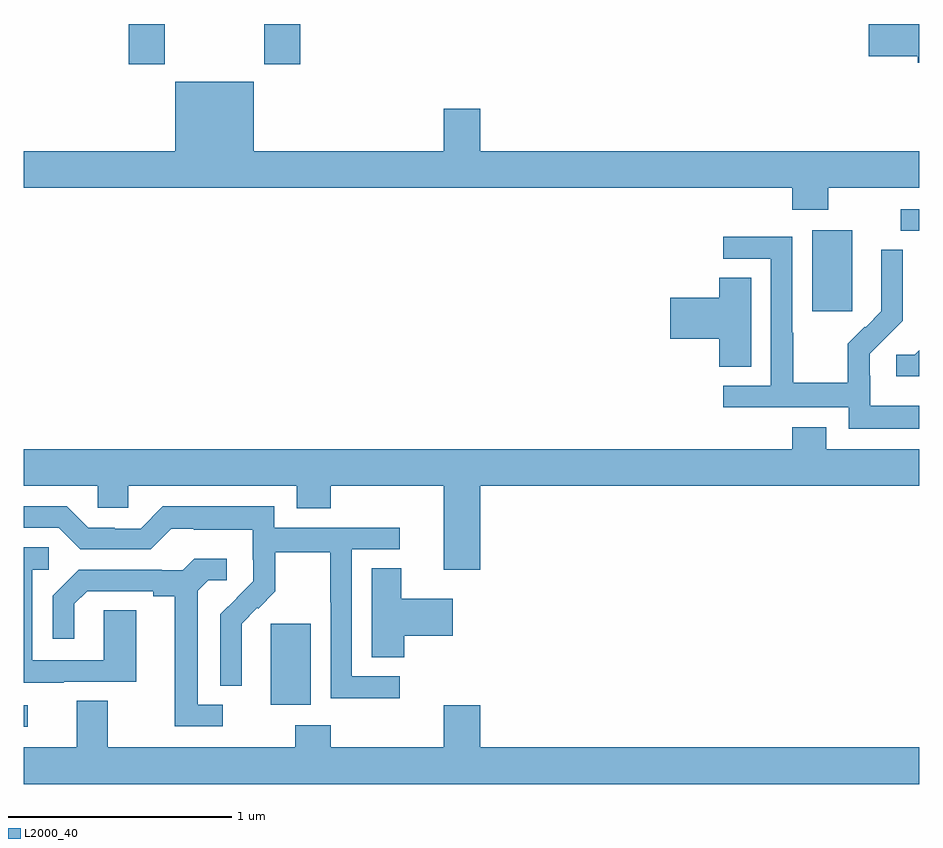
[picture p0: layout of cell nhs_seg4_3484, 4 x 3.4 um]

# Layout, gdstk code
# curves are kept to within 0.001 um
import gdstk
lib = gdstk.Library(unit=1e-6, precision=1e-09)
def R(c, l, rs):  # rectangles x0, y0, x1, y1
    for r in rs: c.add(gdstk.rectangle(r[:2], r[2:], *l))
def P(c, l, *ps):  # polygons
    for p in ps: c.add(gdstk.Polygon(p, *l))
L2000_40 = (2000, 40)

nhs_seg4_3484 = lib.new_cell('nhs_seg4_3484')
R(nhs_seg4_3484, L2000_40, [(295,779.76,295.018,779.856), (296.102,779.858,296.281,780.219), (298.523,781.617,298.702,781.978), (298.917,781.977,299,782.073), (295.469,782.721,295.629,782.9), (296.074,782.721,296.234,782.9)])
P(nhs_seg4_3484, L2000_40, [(299,782.9),(298.776,782.9),(298.776,782.755),(298.994,782.755),(298.994,782.726),(299,782.726)],
  [(298.593,782.168),(299,782.168),(299,782.332),(297.04,782.332),(297.04,782.521),(296.876,782.521),(296.876,782.332),(296.026,782.332),(296.026,782.641),(295.676,782.641),(295.676,782.332),(295,782.332),(295,782.168),(298.433,782.168),(298.433,782.069),(298.593,782.069)],
  [(299,781.195),(298.782,781.195),(298.782,781.329),(298.78,781.329),(298.78,781.426),(298.926,781.574),(298.926,781.892),(298.83,781.892),(298.83,781.738),(298.832,781.738),(298.832,781.616),(298.761,781.545),(298.758,781.548),(298.681,781.471),(298.681,781.297),(298.437,781.297),(298.437,781.52),(298.434,781.52),(298.434,781.95),(298.125,781.95),(298.125,781.851),(298.338,781.851),(298.338,781.284),(298.125,781.284),(298.125,781.188),(298.686,781.188),(298.686,781.091),(299,781.091)],
  [(298.249,781.766),(298.106,781.766),(298.106,781.676),(297.888,781.676),(297.888,781.493),(298.106,781.493),(298.106,781.369),(298.249,781.369)],
  [(299,781.442),(298.98,781.422),(298.899,781.422),(298.899,781.325),(299,781.325)],
  [(295,780.836),(295.329,780.836),(295.329,780.738),(295.467,780.738),(295.467,780.836),(296.219,780.836),(296.219,780.737),(296.372,780.737),(296.372,780.836),(296.876,780.836),(296.876,780.462),(297.04,780.462),(297.04,780.836),(299,780.836),(299,781),(298.585,781),(298.585,781.099),(298.433,781.099),(298.433,781),(295,781)],
  [(296.68,779.985),(296.466,779.985),(296.466,780.552),(296.68,780.552),(296.68,780.648),(296.118,780.648),(296.118,780.745),(295.621,780.745),(295.521,780.645),(295.406,780.645),(295.406,780.648),(295.287,780.648),(295.191,780.744),(295,780.744),(295,780.648),(295.155,780.648),(295.251,780.552),(295.566,780.552),(295.659,780.645),(295.759,780.645),(295.759,780.641),(296.022,780.641),(296.022,780.507),(296.024,780.507),(296.024,780.41),(295.878,780.262),(295.878,779.944),(295.974,779.944),(295.973,780.221),(296.043,780.291),(296.046,780.288),(296.123,780.365),(296.123,780.54),(296.368,780.54),(296.368,780.316),(296.37,780.316),(296.37,779.887),(296.68,779.887)],
  [(295.177,779.961),(295.501,779.961),(295.501,780.281),(295.356,780.281),(295.356,780.057),(295.038,780.057),(295.038,780.462),(295.111,780.462),(295.111,780.563),(295,780.563),(295,779.957),(295.177,779.957)],
  [(295.888,779.859),(295.777,779.859),(295.777,780.367),(295.824,780.414),(295.906,780.414),(295.906,780.511),(295.762,780.511),(295.71,780.459),(295.616,780.459),(295.616,780.462),(295.244,780.462),(295.128,780.346),(295.128,780.153),(295.225,780.153),(295.225,780.309),(295.282,780.366),(295.577,780.366),(295.577,780.344),(295.673,780.344),(295.673,779.763),(295.888,779.763)],
  [(296.699,780.166),(296.917,780.166),(296.917,780.331),(296.686,780.331),(296.686,780.467),(296.555,780.467),(296.555,780.07),(296.699,780.07)],
  [(299,779.668),(297.04,779.668),(297.04,779.857),(296.876,779.857),(296.876,779.668),(296.372,779.668),(296.372,779.767),(296.212,779.767),(296.212,779.668),(295.375,779.668),(295.375,779.876),(295.235,779.876),(295.235,779.668),(295,779.668),(295,779.504),(299,779.504)])

lib.write_gds('nhs_seg4_3484.gds')
